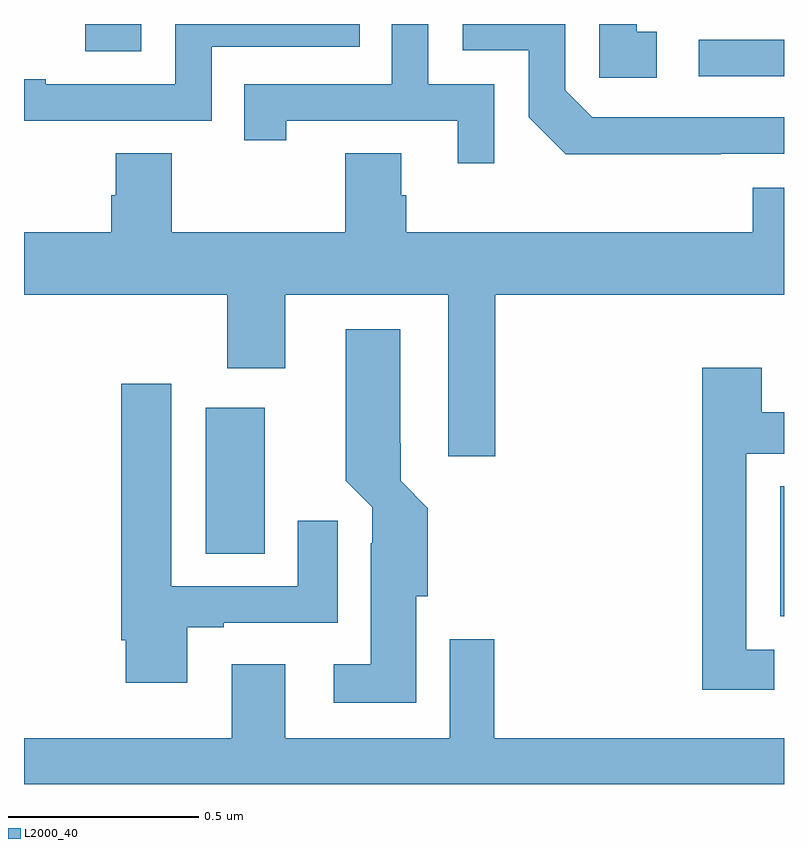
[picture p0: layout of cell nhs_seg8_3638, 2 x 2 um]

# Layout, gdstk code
import gdstk
lib = gdstk.Library(unit=1e-6, precision=1e-09)
def R(c, l, rs):  # rectangles x0, y0, x1, y1
    for r in rs: c.add(gdstk.rectangle(r[:2], r[2:], *l))
def P(c, l, *ps):  # polygons
    for p in ps: c.add(gdstk.Polygon(p, *l))
L2000_40 = (2000, 40)

nhs_seg8_3638 = lib.new_cell('nhs_seg8_3638')
R(nhs_seg8_3638, L2000_40, [(161.99,1094.341,162,1094.684), (160.478,1094.506,160.633,1094.89), (161.775,1095.762,162,1095.858), (160.161,1095.828,160.308,1095.9)])
P(nhs_seg8_3638, L2000_40, [(161.665,1095.879),(161.612,1095.879),(161.612,1095.9),(161.514,1095.9),(161.514,1095.759),(161.665,1095.759)],
  [(160.494,1095.84),(160.883,1095.84),(160.883,1095.9),(160.398,1095.9),(160.398,1095.741),(160.057,1095.741),(160.057,1095.754),(160,1095.754),(160,1095.645),(160.494,1095.645)],
  [(161.834,1095.558),(162,1095.558),(162,1095.654),(161.496,1095.654),(161.424,1095.726),(161.424,1095.9),(161.154,1095.9),(161.154,1095.831),(161.328,1095.831),(161.328,1095.654),(161.426,1095.557),(161.834,1095.557)],
  [(161.238,1095.741),(161.064,1095.741),(161.064,1095.9),(160.968,1095.9),(160.968,1095.741),(160.579,1095.741),(160.579,1095.594),(160.69,1095.594),(160.69,1095.645),(161.141,1095.645),(161.141,1095.534),(161.238,1095.534)],
  [(161.24,1095.188),(162,1095.188),(162,1095.469),(161.918,1095.469),(161.918,1095.352),(161.006,1095.352),(161.006,1095.45),(160.993,1095.45),(160.993,1095.56),(160.846,1095.56),(160.846,1095.352),(160.389,1095.352),(160.389,1095.56),(160.241,1095.56),(160.241,1095.45),(160.229,1095.45),(160.229,1095.352),(160,1095.352),(160,1095.188),(160.535,1095.188),(160.535,1094.994),(160.687,1094.994),(160.687,1095.188),(161.117,1095.188),(161.117,1094.763),(161.24,1094.763)],
  [(161.032,1094.394),(161.063,1094.394),(161.063,1094.626),(160.991,1094.698),(160.991,1094.797),(160.99,1094.797),(160.99,1095.097),(160.847,1095.097),(160.847,1094.698),(160.917,1094.628),(160.917,1094.534),(160.913,1094.534),(160.913,1094.215),(160.815,1094.215),(160.815,1094.114),(161.032,1094.114)],
  [(161.974,1094.253),(161.901,1094.253),(161.901,1094.769),(162,1094.769),(162,1094.878),(161.941,1094.878),(161.941,1094.995),(161.785,1094.995),(161.785,1094.148),(161.974,1094.148)],
  [(160.429,1094.313),(160.525,1094.313),(160.525,1094.325),(160.825,1094.325),(160.825,1094.593),(160.721,1094.593),(160.721,1094.421),(160.387,1094.421),(160.387,1094.953),(160.256,1094.953),(160.256,1094.278),(160.268,1094.278),(160.268,1094.166),(160.429,1094.166)],
  [(162,1094.02),(161.237,1094.02),(161.237,1094.281),(161.121,1094.281),(161.121,1094.02),(160.687,1094.02),(160.687,1094.215),(160.547,1094.215),(160.547,1094.02),(160,1094.02),(160,1093.9),(162,1093.9)])

lib.write_gds('nhs_seg8_3638.gds')
